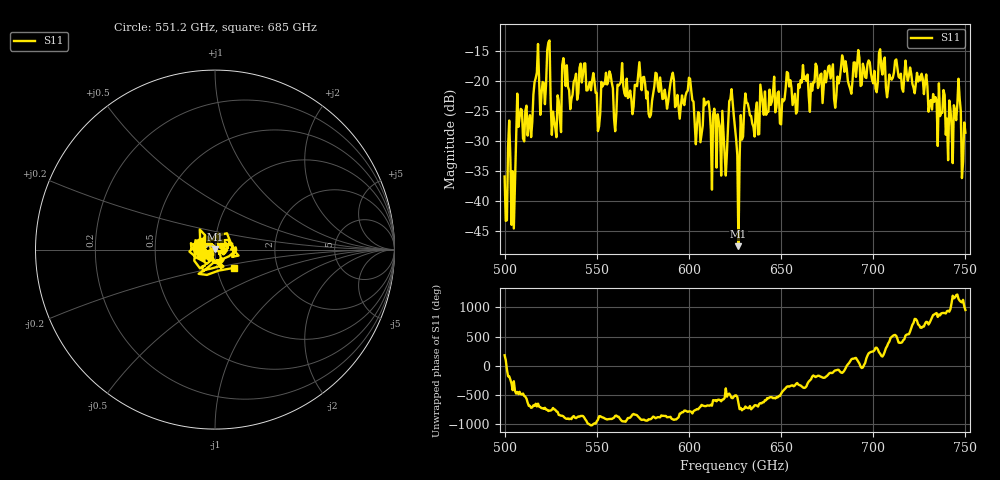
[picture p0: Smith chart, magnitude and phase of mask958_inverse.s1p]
!Created with skrf (http://scikit-rf.org).
# GHz S MA R 50.0
!freq magS11 angS11
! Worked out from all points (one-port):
!   401 points, 500 GHz to 750 GHz, reference 50 ohm
!   lowest |S11| = -47.5 dB at 626.9 GHz (marker M1), VSWR 1.01, Z = 50.1 + j0.419 ohm
!   |S11| at or under -10 dB: start of sweep to end of sweep
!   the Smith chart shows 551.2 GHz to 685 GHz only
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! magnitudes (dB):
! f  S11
! 500 GHz  -35.9
! 503.1 GHz  -32.8
! 504.4 GHz  -35.0
! 507.5 GHz  -27.7
! 513.8 GHz  -25.7
! 517.5 GHz  -18.6
! 520.6 GHz  -20.2
! 523.8 GHz  -13.6
! 526.9 GHz  -26.7
! 531.2 GHz  -17.4
! 542.5 GHz  -19.0
! 550.6 GHz  -28.4
! 562.5 GHz  -20.5
! 593.8 GHz  -22.3
! 600 GHz  -19.5
! 605 GHz  -25.2
! 609.4 GHz  -23.6
! 618.8 GHz  -28.5
! 622.5 GHz  -23.0
! 625 GHz  -27.7
! 626.9 GHz  -47.5
! 631.2 GHz  -23.6
! 656.2 GHz  -24.0
! 687.5 GHz  -21.3
! 718.8 GHz  -20.0
! 741.9 GHz  -24.7
! 746.2 GHz  -19.6
! 750 GHz  -28.6
